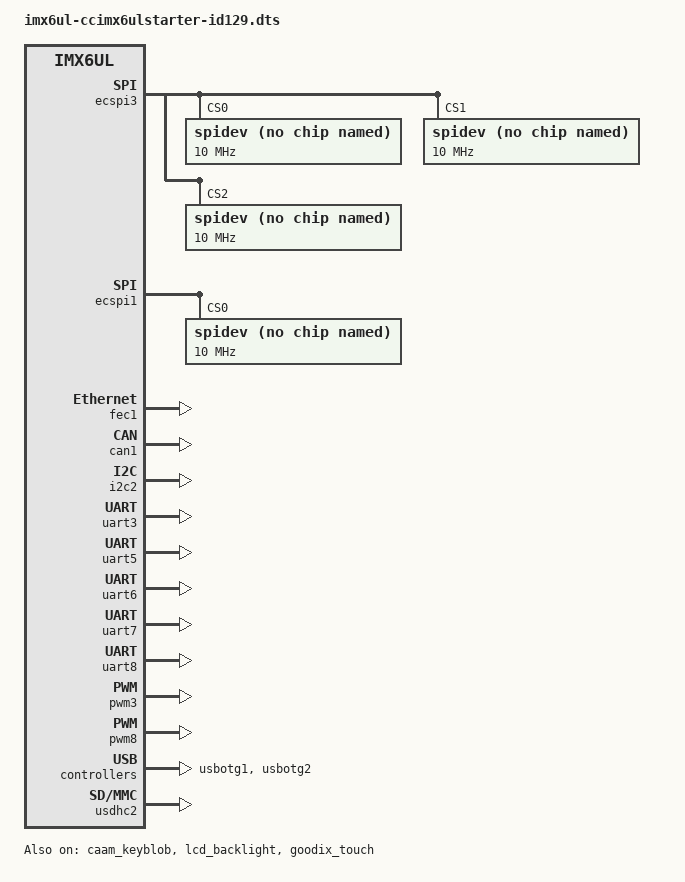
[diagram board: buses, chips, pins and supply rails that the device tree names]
/*
 * Copyright 2016, 2017 Digi International, Inc.
 *
 * The code contained herein is licensed under the GNU General Public
 * License. You may obtain a copy of the GNU General Public License
 * Version 2 or later at the following locations:
 *
 * http://www.opensource.org/licenses/gpl-license.html
 * http://www.gnu.org/copyleft/gpl.html
 */

/dts-v1/;
#include <dt-bindings/input/input.h>
#include <dt-bindings/interrupt-controller/irq.h>
/* i.MX6 UltraLite CPU */
#include "imx6ul.dtsi"
/* ConnectCore 6UL (wireless/bluetooth variant) */
#include "imx6ul-ccimx6ul-wb.dtsi"
/* ConnectCore 6UL StarterBoard */
#include "imx6ul-ccimx6ulstarter.dtsi"

&caam_keyblob {
	status = "okay";
};

/* ECSPI3 */
&ecspi3 {
	status = "okay";

	spidev@0 {
		reg = <0>;
		compatible = "spidev";
		spi-max-frequency = <10000000>;
	};
	spidev@1 {
		reg = <1>;
		compatible = "spidev";
		spi-max-frequency = <10000000>;
	};
	spidev@2 {
		reg = <2>;
		compatible = "spidev";
		spi-max-frequency = <10000000>;
	};
};
/* ECSPI1 */
&ecspi1 {
	status = "okay";

	spidev@0 {
		reg = <0>;
		compatible = "spidev";
		spi-max-frequency = <10000000>;
	};
};

&fec1 {
	status = "okay";
};

/* CAN1 */
&can1 {
	status = "okay";
};

/* I2C2 */
&i2c2 {
	status = "okay";
};

/* UART3 */
&uart3 {                                                                           
	status = "okay";                                                       
};

/* UART5 (Console) */
&uart5 {
	status = "okay";
};

/* UART6 */
&uart6 {                                                                           
    status = "okay";                                                       
};

/* UART7 */
&uart7 {                                                                           
   status = "okay";                                                       
};

/* UART8 */
&uart8 {                                                                           
   status = "okay";                                                       
};

/* PWM3 */
&pwm3 {
	status = "okay";
};

&lcd_backlight {
	status = "okay";
};

/* PWM8 */
&pwm8 {
	status = "okay";
};

&usbotg1 {
	status = "okay";
};

&usbotg2 {
	status = "okay";
};

/* USDHC2 (microSD) */
&usdhc2 {
	status = "okay";
};
/*
 * Goodix touch
 * On the CC6UL SBC, an inconsistent reset sequence makes the
 * Goodix display's touch controller respond to two I2C
 * addresses: 0x14 and 0x5D. To make sure the touchscreen
 * works every time, the touch controller's description must
 * be duplicated for both addresses. This is why there are two
 * entries for the Goodix touch.
 */
&goodix_touch {
	status = "okay";
};
